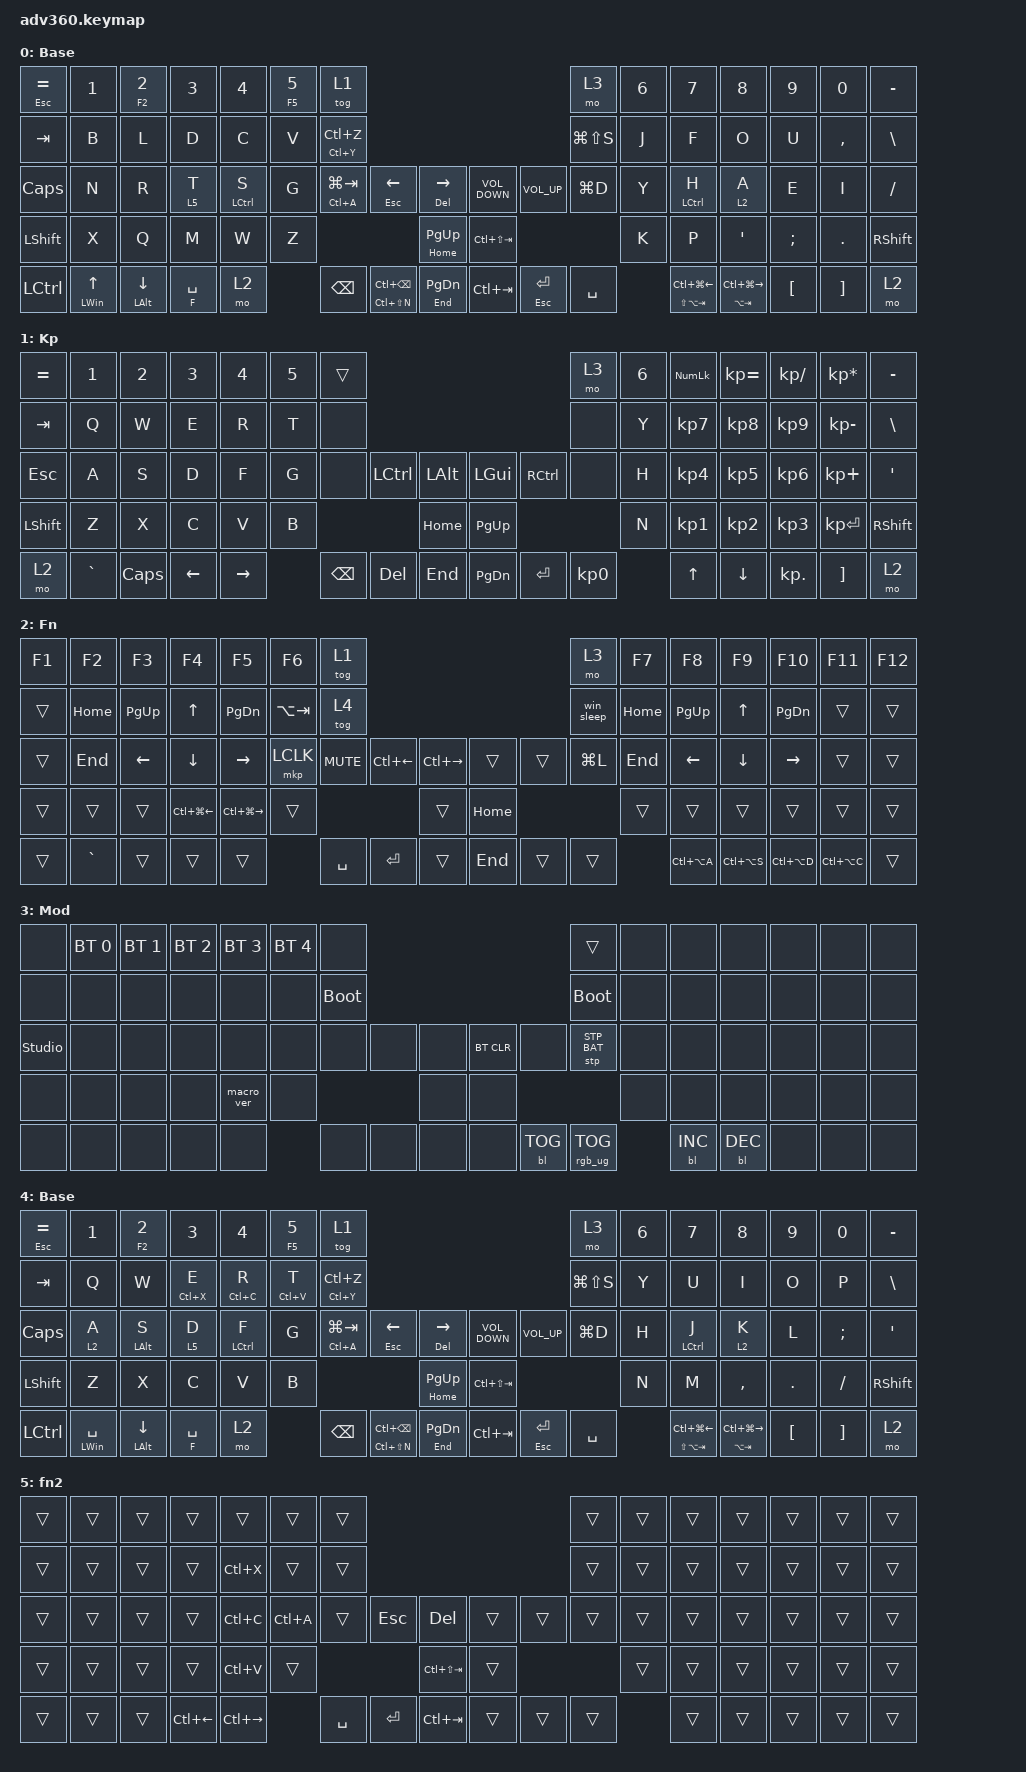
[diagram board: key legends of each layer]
#include <dt-bindings/zmk/stp.h>
#include <behaviors.dtsi>
#include <dt-bindings/zmk/backlight.h>
#include <dt-bindings/zmk/bt.h>
#include <dt-bindings/zmk/keys.h>
#include <dt-bindings/zmk/pointing.h>
#include <dt-bindings/zmk/rgb.h>

/ {
    behaviors {
        #include "macros.dtsi"
      #include "version.dtsi"

        hm: homerow_mods {
            compatible = "zmk,behavior-hold-tap";
            label = "HOMEROW_MODS";
            #binding-cells = <2>;
            tapping-term-ms = <350>;
            quick_tap_ms = <350>;
            flavor = "tap-preferred";
            bindings = <&kp>, <&kp>;

            quick-tap-ms = <350>;
        };
    };

    macros {
        win_sleep: win_sleep {
            compatible = "zmk,behavior-macro";
            #binding-cells = <0>;
            bindings =
                <&macro_press>,
                <&kp LG(X)>,
                <&macro_release>,
                <&macro_tap>,
                <&kp U>,
                <&macro_tap>,
                <&kp S>;

            label = "WIN_SLEEP";
        };
    };

    keymap {
        compatible = "zmk,keymap";

        default_layer {
            display-name = "Base";
            bindings = <
&hm ESC EQUAL     &kp N1                 &hm F2 NUMBER_2          &kp N3       &kp N4              &hm F5 N5  &tog 1                                                                                                       &mo 3          &kp N6  &kp N7                              &kp N8                           &kp N9         &kp N0      &kp MINUS
&kp TAB           &kp B                  &kp L                    &kp D        &kp C               &kp V      &hm LC(Y) LC(Z)                                                                                              &kp LG(LS(S))  &kp J   &kp F                               &kp O                            &kp U          &kp COMMA   &kp BSLH
&kp CAPS          &kp N                  &kp R                    &lt 5 T      &hm LEFT_CONTROL S  &kp G      &hm LC(A) LG(TAB)  &hm ESCAPE LEFT_ARROW        &hm DEL RIGHT_ARROW      &kp C_VOLUME_DOWN  &kp C_VOLUME_UP  &kp LG(D)      &kp Y   &hm LEFT_CONTROL H                  &lt 2 A                          &kp E          &kp I       &kp SLASH
&kp LSHFT         &kp X                  &kp Q                    &kp M        &kp W               &kp Z                                                      &hm HOME PG_UP           &kp LC(LS(TAB))                                    &kp K   &kp P                               &kp SQT                          &kp SEMICOLON  &kp PERIOD  &kp RSHFT
&kp LEFT_CONTROL  &hm LEFT_WIN UP_ARROW  &hm LEFT_ALT DOWN_ARROW  &hm F SPACE  &mo 2                          &kp BSPC           &hm LC(LS(N)) LC(BACKSPACE)  &hm END PG_DN            &kp LC(TAB)        &hm ESC ENTER    &kp SPACE              &hm LS(LA(TAB)) LC(LG(LEFT_ARROW))  &hm LA(TAB) LC(LG(RIGHT_ARROW))  &kp LBKT       &kp RBKT    &mo 2
            >;
        };

        keypad {
            display-name = "Kp";
            bindings = <
&kp EQUAL  &kp N1     &kp N2    &kp N3    &kp N4     &kp N5  &trans                                                   &mo 3      &kp N6  &kp KP_NUM  &kp KP_EQUAL  &kp KP_DIVIDE  &kp KP_MULTIPLY  &kp MINUS
&kp TAB    &kp Q      &kp W     &kp E     &kp R      &kp T   &none                                                    &none      &kp Y   &kp KP_N7   &kp KP_N8     &kp KP_N9      &kp KP_MINUS     &kp BSLH
&kp ESC    &kp A      &kp S     &kp D     &kp F      &kp G   &none     &kp LCTRL  &kp LALT      &kp LGUI   &kp RCTRL  &none      &kp H   &kp KP_N4   &kp KP_N5     &kp KP_N6      &kp KP_PLUS      &kp SQT
&kp LSHFT  &kp Z      &kp X     &kp C     &kp V      &kp B                        &kp HOME      &kp PG_UP                        &kp N   &kp KP_N1   &kp KP_N2     &kp KP_N3      &kp KP_ENTER     &kp RSHFT
&mo 2      &kp GRAVE  &kp CAPS  &kp LEFT  &kp RIGHT          &kp BSPC  &kp DEL    &kp END       &kp PG_DN  &kp ENTER  &kp KP_N0          &kp UP      &kp DOWN      &kp KP_DOT     &kp RBKT         &mo 2
            >;
        };

        fn {
            display-name = "Fn";
            bindings = <
&kp F1  &kp F2     &kp F3          &kp F4                  &kp F5                   &kp F6       &tog 1                                                                     &mo 3       &kp F7    &kp F8          &kp F9          &kp F10          &kp F11        &kp F12
&trans  &kp HOME   &kp PG_UP       &kp UP_ARROW            &kp PG_DN                &kp LA(TAB)  &tog 4                                                                     &win_sleep  &kp HOME  &kp PG_UP       &kp UP_ARROW    &kp PG_DN        &trans         &trans
&trans  &kp END    &kp LEFT_ARROW  &kp DOWN_ARROW          &kp RIGHT_ARROW          &mkp LCLK    &kp C_MUTE  &kp LC(LEFT_ARROW)  &kp LC(RIGHT_ARROW)      &trans    &trans  &kp LG(L)   &kp END   &kp LEFT_ARROW  &kp DOWN_ARROW  &kp RIGHT_ARROW  &trans         &trans
&trans  &trans     &trans          &kp LC(LG(LEFT_ARROW))  &kp LC(LG(RIGHT_ARROW))  &trans                                       &trans                   &kp HOME                      &trans    &trans          &trans          &trans           &trans         &trans
&trans  &kp GRAVE  &trans          &trans                  &trans                                &kp SPACE   &kp ENTER           &trans                   &kp END   &trans  &trans                &kp LC(LA(A))   &kp LC(LA(S))   &kp LC(LA(D))    &kp LC(LA(C))  &trans
            >;
        };

        mod {
            display-name = "Mod";
            bindings = <
&none           &bt BT_SEL 0  &bt BT_SEL 1  &bt BT_SEL 2  &bt BT_SEL 3  &bt BT_SEL 4  &none                                                  &trans           &none  &none       &none       &none  &none  &none
&none           &none         &none         &none         &none         &none         &bootloader                                            &bootloader      &none  &none       &none       &none  &none  &none
&studio_unlock  &none         &none         &none         &none         &none         &none        &none  &none      &bt BT_CLR  &none       &stp STP_BAT     &none  &none       &none       &none  &none  &none
&none           &none         &none         &none         &macro_ver    &none                             &none      &none                                    &none  &none       &none       &none  &none  &none
&none           &none         &none         &none         &none                       &none        &none  &none      &none       &bl BL_TOG  &rgb_ug RGB_TOG         &bl BL_INC  &bl BL_DEC  &none  &none  &none
            >;
        };

        QWERTY {
            display-name = "Base";
            bindings = <
&hm ESC EQUAL     &kp N1              &hm F2 NUMBER_2          &kp N3       &kp N4              &hm F5 N5    &tog 1                                                                                                       &mo 3          &kp N6  &kp N7                              &kp N8                           &kp N9      &kp N0         &kp MINUS
&kp TAB           &kp Q               &kp W                    &hm LC(X) E  &hm LC(C) R         &hm LC(V) T  &hm LC(Y) LC(Z)                                                                                              &kp LG(LS(S))  &kp Y   &kp U                               &kp I                            &kp O       &kp P          &kp BSLH
&kp CAPS          &lt 2 A             &hm LEFT_ALT S           &lt 5 D      &hm LEFT_CONTROL F  &kp G        &hm LC(A) LG(TAB)  &hm ESCAPE LEFT_ARROW        &hm DEL RIGHT_ARROW      &kp C_VOLUME_DOWN  &kp C_VOLUME_UP  &kp LG(D)      &kp H   &hm LEFT_CONTROL J                  &lt 2 K                          &kp L       &kp SEMICOLON  &kp SQT
&kp LSHFT         &kp Z               &kp X                    &kp C        &kp V               &kp B                                                        &hm HOME PG_UP           &kp LC(LS(TAB))                                    &kp N   &kp M                               &kp COMMA                        &kp PERIOD  &kp SLASH      &kp RSHFT
&kp LEFT_CONTROL  &hm LEFT_WIN SPACE  &hm LEFT_ALT DOWN_ARROW  &hm F SPACE  &mo 2                            &kp BSPC           &hm LC(LS(N)) LC(BACKSPACE)  &hm END PG_DN            &kp LC(TAB)        &hm ESC ENTER    &kp SPACE              &hm LS(LA(TAB)) LC(LG(LEFT_ARROW))  &hm LA(TAB) LC(LG(RIGHT_ARROW))  &kp LBKT    &kp RBKT       &mo 2
            >;
        };

        fn2 {
            bindings = <
&trans  &trans  &trans  &trans              &trans               &trans     &trans                                                      &trans  &trans  &trans  &trans  &trans  &trans  &trans
&trans  &trans  &trans  &trans              &kp LC(X)            &trans     &trans                                                      &trans  &trans  &trans  &trans  &trans  &trans  &trans
&trans  &trans  &trans  &trans              &kp LC(C)            &kp LC(A)  &trans     &kp ESCAPE  &kp DEL              &trans  &trans  &trans  &trans  &trans  &trans  &trans  &trans  &trans
&trans  &trans  &trans  &trans              &kp LC(V)            &trans                            &kp LC(LS(TAB))      &trans                  &trans  &trans  &trans  &trans  &trans  &trans
&trans  &trans  &trans  &kp LC(LEFT_ARROW)  &kp LC(RIGHT_ARROW)             &kp SPACE  &kp ENTER   &kp LC(TAB)          &trans  &trans  &trans          &trans  &trans  &trans  &trans  &trans
            >;
        };

        extra1 {
            display-name = "Red";
            status = "reserved";
        };

        extra2 {
            display-name = "Purple";
            status = "reserved";
        };

        extra3 {
            display-name = "Cyan";
            status = "reserved";
        };

        extra4 {
            display-name = "Yellow";
            status = "reserved";
        };
    };
};
